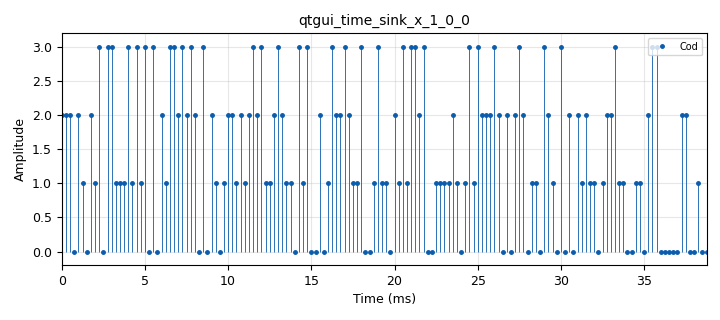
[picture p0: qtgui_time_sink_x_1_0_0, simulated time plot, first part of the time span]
options:
  parameters:
    generate_options: qt_gui
    id: qpsk
    output_language: python
    title: Basic QPSK starter
  states: {}

blocks:
- name: samp_rate
  id: variable
  parameters:
    value: symbol_rate*sps
  states: {}
- name: sps
  id: variable
  parameters:
    value: '32'
  states: {}
- name: symbol_rate
  id: variable
  parameters:
    value: '4000'
  states: {}
- name: analog_random_source_x_0
  id: analog_random_source_x
  parameters:
    max: '4'
    min: '0'
    num_samps: '512'
    repeat: 'True'
    type: byte
  states: {}
- name: blocks_char_to_float_0
  id: blocks_char_to_float
  parameters:
    scale: '1'
  states: {}
- name: blocks_throttle2_0
  id: blocks_throttle2
  parameters:
    limit: items
    samples_per_second: symbol_rate
    type: byte
  states: {}
- name: qtgui_time_sink_x_1_0_0
  id: qtgui_time_sink_x
  parameters:
    label1: Cod
    marker1: '0'
    size: '512'
    srate: symbol_rate
    stemplot: 'True'
    type: float
    ymax: '3.2'
    ymin: '-.2'
  states: {}

connections:
- [analog_random_source_x_0, '0', blocks_throttle2_0, '0']
- [blocks_char_to_float_0, '0', qtgui_time_sink_x_1_0_0, '0']
- [blocks_throttle2_0, '0', blocks_char_to_float_0, '0']

metadata:
  file_format: 1
  grc_version: 3.10.12.0
